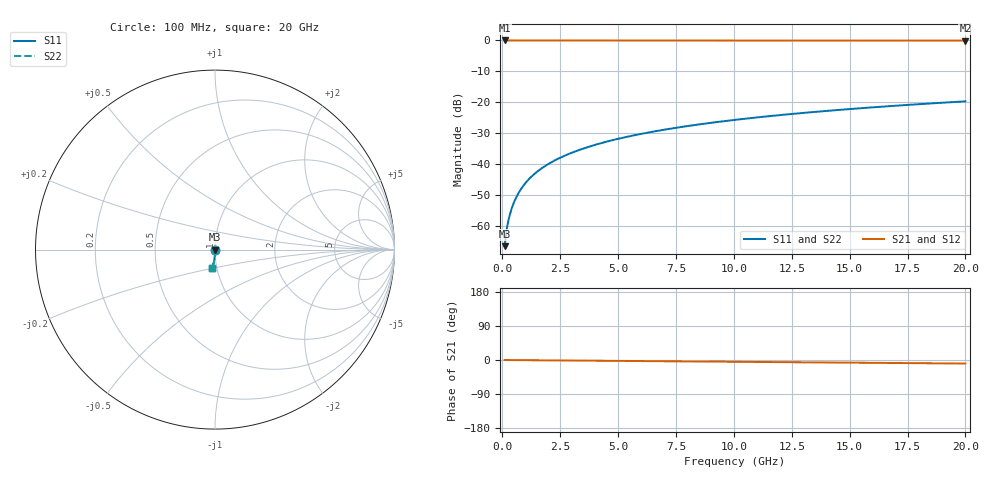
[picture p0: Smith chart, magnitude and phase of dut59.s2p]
! Touchstone file exported from HFSS 2026.1.0
!  File:  C:/ffzhzh/LocalFiles/Ansys_Project_Files/temp_train_TSV_59_1782958991_45308.aedt
!  Generated:  10:24:29 AM Jul  2, 2026
!  Design:  TSV
!  Project:  temp_train_TSV_59_1782958991_45308
! Variables:
!  h_bsmrdl = 2um
!  h_ox = 20um
!  h_rdl = 5um
!  h_sub = 77.06um
!  h_tmrdl = 5um
!  h_tsv = 77.06um
!  h_via = 3um
!  l_bsmrdl = 300um
!  l_sub = 423.38um
!  l_tmrdl = 200um
!  m_sub = 200um
!  pitch = 28.02um
!  r_tsv = 11.69um
!  s_tmrdl = 10um
!  w_bsmrdl = 18um
!  w_sub = 500um
!  w_tmrdl = 12um
!  x_tsv_center1 = 206um
!  x_tsv_center2 = 524um
!  x_tsv_center3 = 736um
!  x_tsv_center4 = 1054um
!  x_tsv_center5 = 1266um
!  x_tsv_center6 = 1584um
# GHz S MA R 50.000000
! Terminal data exported
! Port[1] = TSV1_1_T1
! Port[2] = TSV1_1_T2
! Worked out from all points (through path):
!   200 points, 100 MHz to 20 GHz, reference 50 ohm
!   highest |S21| = 0.00 dB at 100 MHz (marker M1); lowest = -0.1 dB at 20 GHz (marker M2)
!   group delay of S21, straight-line fit = 1.29 ps
!   lowest |S11| = -66.4 dB at 100 MHz (marker M3), VSWR 1.00, Z = 50 - j0.0464 ohm
!   |S11| at or under -10 dB: start of sweep to end of sweep
!   |S22| runs from -66.4 to -19.7 dB; largest |S21 - S12| = 4.9e-15
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0.1  0.0004781 -76.1  0.9999 -0.1  0.9999 -0.1  0.0004781 -76.1
! Gamma 0 0 0 0
! Port Impedance 50 0 50 0
0.2  0.0009438 -81.8  0.9999 -0.1  0.9999 -0.1  0.0009438 -81.8
0.3  0.001424 -83.5  0.9998 -0.1  0.9998 -0.1  0.001424 -83.5
0.4  0.001915 -84.2  0.9998 -0.2  0.9998 -0.2  0.001915 -84.2
0.5  0.002416 -84.7  0.9998 -0.2  0.9998 -0.2  0.002416 -84.7
0.7  0.003437 -85.4  0.9997 -0.3  0.9997 -0.3  0.003437 -85.4
0.8  0.003953 -85.8  0.9997 -0.4  0.9997 -0.4  0.003953 -85.8
1  0.004991 -86.3  0.9996 -0.5  0.9996 -0.5  0.004991 -86.3
1.2  0.006031 -86.8  0.9996 -0.6  0.9996 -0.6  0.006031 -86.8
1.4  0.007072 -87.3  0.9996 -0.7  0.9996 -0.7  0.007072 -87.3
1.7  0.008633 -87.8  0.9995 -0.8  0.9995 -0.8  0.008633 -87.8
2  0.01019 -88.2  0.9995 -1.0  0.9995 -1.0  0.01019 -88.2
2.7  0.01383 -89.0  0.9994 -1.3  0.9994 -1.3  0.01383 -89.0
3.5  0.018 -89.7  0.9992 -1.7  0.9992 -1.7  0.018 -89.7
4.2  0.02165 -90.2  0.9991 -2.0  0.9991 -2.0  0.02165 -90.2
5  0.02583 -90.7  0.9989 -2.4  0.9989 -2.4  0.02583 -90.7
6.8  0.03525 -91.8  0.9985 -3.2  0.9985 -3.2  0.03525 -91.8
8.3  0.04311 -92.6  0.9981 -3.9  0.9981 -3.9  0.04311 -92.6
10.1  0.05254 -93.5  0.9975 -4.7  0.9975 -4.7  0.05254 -93.5
13.4  0.06978 -95.2  0.9963 -6.3  0.9963 -6.3  0.06978 -95.2
16.7  0.08695 -96.9  0.9948 -7.8  0.9948 -7.8  0.08695 -96.9
20  0.104 -98.5  0.993 -9.3  0.993 -9.3  0.104 -98.5
